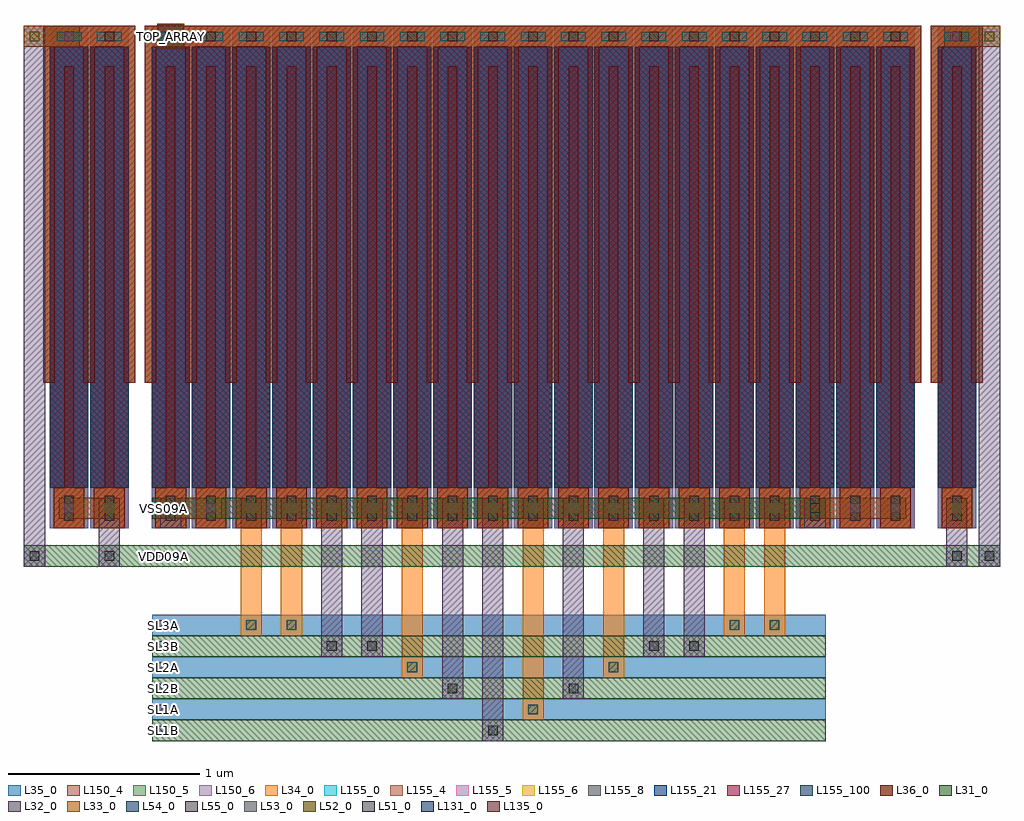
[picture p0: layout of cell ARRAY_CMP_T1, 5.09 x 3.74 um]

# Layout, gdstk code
from math import pi, radians
import gdstk
lib = gdstk.Library(unit=1e-6, precision=1e-09)
def R(c, l, rs):  # rectangles x0, y0, x1, y1
    for r in rs: c.add(gdstk.rectangle(r[:2], r[2:], *l))
def A(c, l, x, y, w, h, nx, ny, dx, dy):  # array of equal rectangles
    R(c, l, [(x+i*dx, y+j*dy, x+i*dx+w, y+j*dy+h) for i in range(nx) for j in range(ny)])
L31_0 = (31, 0)
L32_0 = (32, 0)
L33_0 = (33, 0)
L34_0 = (34, 0)
L35_0 = (35, 0)
L36_0 = (36, 0)
L51_0 = (51, 0)
L52_0 = (52, 0)
L53_0 = (53, 0)
L54_0 = (54, 0)
L55_0 = (55, 0)
L131_0 = (131, 0)
L135_0 = (135, 0)
L150_4 = (150, 4)
L150_5 = (150, 5)
L150_6 = (150, 6)
L155_0 = (155, 0)
L155_4 = (155, 4)
L155_5 = (155, 5)
L155_6 = (155, 6)
L155_8 = (155, 8)
L155_21 = (155, 21)
L155_27 = (155, 27)
L155_100 = (155, 100)

m5_m4_cdns_614758582987 = lib.new_cell('M5_M4_CDNS_614758582987')
R(m5_m4_cdns_614758582987, L34_0, [(-0.07,-0.105,0.07,0.105)])
R(m5_m4_cdns_614758582987, L35_0, [(-0.07,-0.105,0.07,0.105)])
R(m5_m4_cdns_614758582987, L54_0, [(-0.025,-0.065,0.025,0.065)])

m6_m5_cdns_614758582988 = lib.new_cell('M6_M5_CDNS_614758582988')
R(m6_m5_cdns_614758582988, L35_0, [(-0.07,-0.105,0.07,0.105)])
R(m6_m5_cdns_614758582988, L36_0, [(-0.055,-0.105,0.055,0.105)])
R(m6_m5_cdns_614758582988, L55_0, [(-0.025,-0.065,0.025,0.065)])

m5_m4_cdns_614758582989 = lib.new_cell('M5_M4_CDNS_614758582989')
R(m5_m4_cdns_614758582989, L34_0, [(-0.095,-0.055,0.095,0.055)])
R(m5_m4_cdns_614758582989, L35_0, [(-0.12,-0.055,0.12,0.055)])
R(m5_m4_cdns_614758582989, L54_0, [(-0.065,-0.025,0.065,0.025)])

m6_m5_cdns_6147585829810 = lib.new_cell('M6_M5_CDNS_6147585829810')
R(m6_m5_cdns_6147585829810, L35_0, [(-0.055,-0.055,0.055,0.055)])
R(m6_m5_cdns_6147585829810, L36_0, [(-0.055,-0.055,0.055,0.055)])
R(m6_m5_cdns_6147585829810, L55_0, [(-0.025,-0.025,0.025,0.025)])

cu1f = lib.new_cell('CU1F')
R(cu1f, L34_0, [(0.02,0,0.18,0.21), (-0.035,2.51,0.235,2.62)])
R(cu1f, L35_0, [(0.02,0,0.18,0.21), (-0.035,2.51,0.235,2.62)])
R(cu1f, L36_0, [(0.02,0,0.18,0.21), (-0.035,2.51,0.235,2.62)])
R(cu1f, L150_4, [(0,0,0.2,2.62)])
R(cu1f, L150_5, [(0,0,0.2,2.62)])
R(cu1f, L150_6, [(0,0,0.2,2.62)])
R(cu1f, L155_0, [(0,0.21,0.2,2.51)])
R(cu1f, L155_4, [(0,0.21,0.2,2.51)])
R(cu1f, L155_5, [(0,0.21,0.2,2.51)])
R(cu1f, L155_6, [(0,0.21,0.2,2.51)])
R(cu1f, L155_8, [(0,0.21,0.2,2.51)])
R(cu1f, L155_21, [(0,0.21,0.2,2.51)])
R(cu1f, L155_27, [(0,0.21,0.2,2.51)])
R(cu1f, L155_100, [(0,0.21,0.2,2.51)])
cu1f.add(gdstk.FlexPath([(0.205,2.59),(0.205,0.76)], 0.06, ends=(0.03, 0), simple_path=True, layer=34, datatype=0))  # L34_0
cu1f.add(gdstk.FlexPath([(0.1,2.41),(0.1,0)], 0.05, ends="flush", simple_path=True, layer=34, datatype=0))  # L34_0
cu1f.add(gdstk.FlexPath([(-0.005,2.59),(-0.005,0.76)], 0.06, ends=(0.03, 0), simple_path=True, layer=34, datatype=0))  # L34_0
cu1f.add(gdstk.FlexPath([(0.205,0.76),(0.205,2.59)], 0.06, ends=(0, 0.03), simple_path=True, layer=35, datatype=0))  # L35_0
cu1f.add(gdstk.FlexPath([(0.1,2.41),(0.1,0)], 0.05, ends="flush", simple_path=True, layer=35, datatype=0))  # L35_0
cu1f.add(gdstk.FlexPath([(-0.005,0.76),(-0.005,2.59)], 0.06, ends=(0, 0.03), simple_path=True, layer=35, datatype=0))  # L35_0
cu1f.add(gdstk.FlexPath([(0.205,0.76),(0.205,2.59)], 0.06, ends=(0, 0.03), simple_path=True, layer=36, datatype=0))  # L36_0
cu1f.add(gdstk.FlexPath([(0.1,2.41),(0.1,0)], 0.05, ends="flush", simple_path=True, layer=36, datatype=0))  # L36_0
cu1f.add(gdstk.FlexPath([(-0.005,0.76),(-0.005,2.59)], 0.06, ends=(0, 0.03), simple_path=True, layer=36, datatype=0))  # L36_0
cu1f.add(gdstk.Reference(m5_m4_cdns_614758582987, (0.1,0.105), rotation=pi, x_reflection=True))
cu1f.add(gdstk.Reference(m6_m5_cdns_614758582988, (0.1,0.105), rotation=pi, x_reflection=True))
cu1f.add(gdstk.Reference(m5_m4_cdns_614758582989, (0.1,2.565)))
cu1f.add(gdstk.Reference(m6_m5_cdns_6147585829810, (0.1,2.565)))

m2_m1_cdns_614758582980 = lib.new_cell('M2_M1_CDNS_614758582980')
R(m2_m1_cdns_614758582980, L31_0, [(-0.055,-0.055,0.055,0.055)])
R(m2_m1_cdns_614758582980, L32_0, [(-0.055,-0.055,0.055,0.055)])
R(m2_m1_cdns_614758582980, L51_0, [(-0.025,-0.025,0.025,0.025)])

m3_m2_cdns_614758582981 = lib.new_cell('M3_M2_CDNS_614758582981')
R(m3_m2_cdns_614758582981, L32_0, [(-0.055,-0.055,0.055,0.055)])
R(m3_m2_cdns_614758582981, L33_0, [(-0.055,-0.055,0.055,0.055)])
R(m3_m2_cdns_614758582981, L52_0, [(-0.025,-0.025,0.025,0.025)])

m4_m3_cdns_614758582982 = lib.new_cell('M4_M3_CDNS_614758582982')
R(m4_m3_cdns_614758582982, L33_0, [(-0.055,-0.055,0.055,0.055)])
R(m4_m3_cdns_614758582982, L34_0, [(-0.055,-0.055,0.055,0.055)])
R(m4_m3_cdns_614758582982, L53_0, [(-0.025,-0.025,0.025,0.025)])

m4_m3_cdns_614758582983 = lib.new_cell('M4_M3_CDNS_614758582983')
R(m4_m3_cdns_614758582983, L33_0, [(-0.07,-0.065,0.07,0.065)])
R(m4_m3_cdns_614758582983, L34_0, [(-0.055,-0.055,0.055,0.055)])
R(m4_m3_cdns_614758582983, L53_0, [(-0.025,-0.025,0.025,0.025)])

m3_m2_cdns_614758582984 = lib.new_cell('M3_M2_CDNS_614758582984')
R(m3_m2_cdns_614758582984, L32_0, [(-0.065,-0.06,0.065,0.06)])
R(m3_m2_cdns_614758582984, L33_0, [(-0.07,-0.065,0.07,0.065)])
R(m3_m2_cdns_614758582984, L52_0, [(-0.025,-0.025,0.025,0.025)])

m2_m1_cdns_614758582985 = lib.new_cell('M2_M1_CDNS_614758582985')
R(m2_m1_cdns_614758582985, L31_0, [(-0.055,-0.055,0.055,0.055)])
R(m2_m1_cdns_614758582985, L32_0, [(-0.065,-0.06,0.065,0.06)])
R(m2_m1_cdns_614758582985, L51_0, [(-0.025,-0.025,0.025,0.025)])

m5_m4_cdns_614758582986 = lib.new_cell('M5_M4_CDNS_614758582986')
R(m5_m4_cdns_614758582986, L34_0, [(-0.055,-0.055,0.055,0.055)])
R(m5_m4_cdns_614758582986, L35_0, [(-0.055,-0.055,0.055,0.055)])
R(m5_m4_cdns_614758582986, L54_0, [(-0.025,-0.025,0.025,0.025)])

array_cmp_t1 = lib.new_cell('ARRAY_CMP_T1')
A(array_cmp_t1, L31_0, 0.535, -1.11, 3.51, 0.11, 1, 3, 0, 0.22)
R(array_cmp_t1, L31_0, [(-0.135,-0.2,4.955,-0.09), (0.535,0.05,4.045,0.16), (0.56,2.5,0.7,2.63)])
R(array_cmp_t1, L32_0, [(2.255,-1.11,2.365,0.16), (2.045,-0.89,2.155,0.16), (2.675,-0.89,2.785,0.16), (1.415,-0.67,1.525,0.16), (1.625,-0.67,1.735,0.16), (3.095,-0.67,3.205,0.16), (3.305,-0.67,3.415,0.16), (-0.135,-0.2,-0.025,2.62), (0.255,-0.2,0.365,0.16), (4.675,-0.2,4.785,0.16), (4.845,-0.2,4.955,2.62), (0.575,0,0.685,0.16), (3.935,0,4.045,0.16)])
A(array_cmp_t1, L33_0, 0.995, 0, 0.11, 0.16, 14, 1, 0.21, 0)
R(array_cmp_t1, L33_0, [(4.675,0,4.785,0.16), (0.045,0.05,0.365,0.16), (0.575,0.05,0.895,0.16), (3.935,0.05,4.465,0.16), (-0.135,2.51,0.155,2.62), (4.665,2.51,4.955,2.62)])
R(array_cmp_t1, L34_0, [(2.465,-1,2.575,0.16), (1.835,-0.78,1.945,0.16), (2.885,-0.78,2.995,0.16), (0.995,-0.56,1.105,0.16), (1.205,-0.56,1.315,0.16), (3.515,-0.56,3.625,0.16), (3.725,-0.56,3.835,0.16)])
A(array_cmp_t1, L35_0, 0.535, -1, 3.51, 0.11, 1, 3, 0, 0.22)
A(array_cmp_t1, L131_0, 0.565, -1.08, 0.05, 0.05, 1, 3, 0, 0.22)
R(array_cmp_t1, L131_0, [(0.565,-0.17,0.615,-0.12), (0.565,0.08,0.615,0.13), (0.605,2.54,0.655,2.59)])
A(array_cmp_t1, L135_0, 0.565, -0.97, 0.05, 0.05, 1, 3, 0, 0.22)
array_cmp_t1.add(gdstk.Reference(cu1f, (0,0)))
array_cmp_t1.add(gdstk.Reference(cu1f, (0.21,0)))
array_cmp_t1.add(gdstk.Reference(cu1f, (0.53,0)))
array_cmp_t1.add(gdstk.Reference(cu1f, (0.74,0)))
array_cmp_t1.add(gdstk.Reference(cu1f, (4.63,0)))
array_cmp_t1.add(gdstk.Reference(cu1f, (4.31,0)))
array_cmp_t1.add(gdstk.Reference(cu1f, (4.1,0)))
array_cmp_t1.add(gdstk.Reference(cu1f, (3.89,0)))
array_cmp_t1.add(gdstk.Reference(cu1f, (3.68,0)))
array_cmp_t1.add(gdstk.Reference(cu1f, (3.47,0)))
array_cmp_t1.add(gdstk.Reference(cu1f, (3.26,0)))
array_cmp_t1.add(gdstk.Reference(cu1f, (3.05,0)))
array_cmp_t1.add(gdstk.Reference(cu1f, (2.84,0)))
array_cmp_t1.add(gdstk.Reference(cu1f, (2.63,0)))
array_cmp_t1.add(gdstk.Reference(cu1f, (2.42,0)))
array_cmp_t1.add(gdstk.Reference(cu1f, (2.21,0)))
array_cmp_t1.add(gdstk.Reference(cu1f, (2,0)))
array_cmp_t1.add(gdstk.Reference(cu1f, (1.79,0)))
array_cmp_t1.add(gdstk.Reference(cu1f, (1.58,0)))
array_cmp_t1.add(gdstk.Reference(cu1f, (1.37,0)))
array_cmp_t1.add(gdstk.Reference(cu1f, (1.16,0)))
array_cmp_t1.add(gdstk.Reference(cu1f, (0.95,0)))
array_cmp_t1.add(gdstk.Reference(m2_m1_cdns_614758582980, (4.9,-0.145)))
array_cmp_t1.add(gdstk.Reference(m2_m1_cdns_614758582980, (-0.08,-0.145)))
array_cmp_t1.add(gdstk.Reference(m2_m1_cdns_614758582980, (3.99,0.105)))
array_cmp_t1.add(gdstk.Reference(m2_m1_cdns_614758582980, (4.73,-0.145)))
array_cmp_t1.add(gdstk.Reference(m2_m1_cdns_614758582980, (0.31,-0.145)))
array_cmp_t1.add(gdstk.Reference(m2_m1_cdns_614758582980, (2.31,-1.055)))
array_cmp_t1.add(gdstk.Reference(m2_m1_cdns_614758582980, (2.1,-0.835)))
array_cmp_t1.add(gdstk.Reference(m2_m1_cdns_614758582980, (2.73,-0.835)))
array_cmp_t1.add(gdstk.Reference(m2_m1_cdns_614758582980, (1.68,-0.615)))
array_cmp_t1.add(gdstk.Reference(m2_m1_cdns_614758582980, (1.47,-0.615)))
array_cmp_t1.add(gdstk.Reference(m2_m1_cdns_614758582980, (3.15,-0.615)))
array_cmp_t1.add(gdstk.Reference(m2_m1_cdns_614758582980, (3.36,-0.615)))
array_cmp_t1.add(gdstk.Reference(m2_m1_cdns_614758582980, (0.63,0.105)))
array_cmp_t1.add(gdstk.Reference(m3_m2_cdns_614758582981, (4.9,2.565)))
array_cmp_t1.add(gdstk.Reference(m3_m2_cdns_614758582981, (-0.08,2.565)))
array_cmp_t1.add(gdstk.Reference(m3_m2_cdns_614758582981, (1.05,0.105)))
array_cmp_t1.add(gdstk.Reference(m3_m2_cdns_614758582981, (1.26,0.105)))
array_cmp_t1.add(gdstk.Reference(m3_m2_cdns_614758582981, (1.47,0.105)))
array_cmp_t1.add(gdstk.Reference(m3_m2_cdns_614758582981, (1.68,0.105)))
array_cmp_t1.add(gdstk.Reference(m3_m2_cdns_614758582981, (1.89,0.105)))
array_cmp_t1.add(gdstk.Reference(m3_m2_cdns_614758582981, (2.1,0.105)))
array_cmp_t1.add(gdstk.Reference(m3_m2_cdns_614758582981, (2.31,0.105)))
array_cmp_t1.add(gdstk.Reference(m3_m2_cdns_614758582981, (2.52,0.105)))
array_cmp_t1.add(gdstk.Reference(m3_m2_cdns_614758582981, (2.73,0.105)))
array_cmp_t1.add(gdstk.Reference(m3_m2_cdns_614758582981, (2.94,0.105)))
array_cmp_t1.add(gdstk.Reference(m3_m2_cdns_614758582981, (3.15,0.105)))
array_cmp_t1.add(gdstk.Reference(m3_m2_cdns_614758582981, (3.36,0.105)))
array_cmp_t1.add(gdstk.Reference(m3_m2_cdns_614758582981, (3.57,0.105)))
array_cmp_t1.add(gdstk.Reference(m3_m2_cdns_614758582981, (3.78,0.105)))
array_cmp_t1.add(gdstk.Reference(m3_m2_cdns_614758582981, (4.73,0.105)))
array_cmp_t1.add(gdstk.Reference(m3_m2_cdns_614758582981, (3.99,0.105)))
array_cmp_t1.add(gdstk.Reference(m3_m2_cdns_614758582981, (0.63,0.105)))
array_cmp_t1.add(gdstk.Reference(m3_m2_cdns_614758582981, (0.31,0.105)))
array_cmp_t1.add(gdstk.Reference(m4_m3_cdns_614758582982, (4.72,2.565), rotation=pi, x_reflection=True))
array_cmp_t1.add(gdstk.Reference(m4_m3_cdns_614758582982, (0.1,2.565)))
array_cmp_t1.add(gdstk.Reference(m4_m3_cdns_614758582982, (1.05,0.105)))
array_cmp_t1.add(gdstk.Reference(m4_m3_cdns_614758582982, (1.26,0.105)))
array_cmp_t1.add(gdstk.Reference(m4_m3_cdns_614758582982, (1.47,0.105)))
array_cmp_t1.add(gdstk.Reference(m4_m3_cdns_614758582982, (1.68,0.105)))
array_cmp_t1.add(gdstk.Reference(m4_m3_cdns_614758582982, (1.89,0.105)))
array_cmp_t1.add(gdstk.Reference(m4_m3_cdns_614758582982, (2.1,0.105)))
array_cmp_t1.add(gdstk.Reference(m4_m3_cdns_614758582982, (2.31,0.105)))
array_cmp_t1.add(gdstk.Reference(m4_m3_cdns_614758582982, (2.52,0.105)))
array_cmp_t1.add(gdstk.Reference(m4_m3_cdns_614758582982, (2.73,0.105)))
array_cmp_t1.add(gdstk.Reference(m4_m3_cdns_614758582982, (2.94,0.105)))
array_cmp_t1.add(gdstk.Reference(m4_m3_cdns_614758582982, (3.15,0.105)))
array_cmp_t1.add(gdstk.Reference(m4_m3_cdns_614758582982, (3.36,0.105)))
array_cmp_t1.add(gdstk.Reference(m4_m3_cdns_614758582982, (3.57,0.105)))
array_cmp_t1.add(gdstk.Reference(m4_m3_cdns_614758582982, (3.78,0.105)))
array_cmp_t1.add(gdstk.Reference(m4_m3_cdns_614758582982, (4.73,0.105)))
array_cmp_t1.add(gdstk.Reference(m4_m3_cdns_614758582982, (4.2,0.105)))
array_cmp_t1.add(gdstk.Reference(m4_m3_cdns_614758582982, (4.41,0.105)))
array_cmp_t1.add(gdstk.Reference(m4_m3_cdns_614758582982, (3.99,0.105)))
array_cmp_t1.add(gdstk.Reference(m4_m3_cdns_614758582982, (0.84,0.105)))
array_cmp_t1.add(gdstk.Reference(m4_m3_cdns_614758582982, (0.63,0.105)))
array_cmp_t1.add(gdstk.Reference(m4_m3_cdns_614758582982, (0.1,0.105)))
array_cmp_t1.add(gdstk.Reference(m4_m3_cdns_614758582982, (0.31,0.105)))
array_cmp_t1.add(gdstk.Reference(m4_m3_cdns_614758582983, (0.63,2.565)))
array_cmp_t1.add(gdstk.Reference(m3_m2_cdns_614758582984, (0.63,2.565)))
array_cmp_t1.add(gdstk.Reference(m2_m1_cdns_614758582985, (0.63,2.565)))
array_cmp_t1.add(gdstk.Reference(m5_m4_cdns_614758582986, (1.89,-0.725)))
array_cmp_t1.add(gdstk.Reference(m5_m4_cdns_614758582986, (2.94,-0.725)))
array_cmp_t1.add(gdstk.Reference(m5_m4_cdns_614758582986, (2.52,-0.945)))
array_cmp_t1.add(gdstk.Reference(m5_m4_cdns_614758582986, (3.78,-0.505)))
array_cmp_t1.add(gdstk.Reference(m5_m4_cdns_614758582986, (1.26,-0.505)))
array_cmp_t1.add(gdstk.Reference(m5_m4_cdns_614758582986, (3.57,-0.505)))
array_cmp_t1.add(gdstk.Reference(m5_m4_cdns_614758582986, (1.05,-0.505)))
array_cmp_t1.add(gdstk.Label('SL3A', (0.59,-0.505), layer=135, texttype=0))
array_cmp_t1.add(gdstk.Label('SL1A', (0.59,-0.945), layer=135, texttype=0))
array_cmp_t1.add(gdstk.Label('SL2A', (0.59,-0.725), layer=135, texttype=0))
array_cmp_t1.add(gdstk.Label('VDD09A', (0.59,-0.145), layer=131, texttype=0))
array_cmp_t1.add(gdstk.Label('SL3B', (0.59,-0.615), layer=131, texttype=0))
array_cmp_t1.add(gdstk.Label('VSS09A', (0.59,0.105), layer=131, texttype=0))
array_cmp_t1.add(gdstk.Label('SL1B', (0.59,-1.055), layer=131, texttype=0))
array_cmp_t1.add(gdstk.Label('SL2B', (0.59,-0.835), layer=131, texttype=0))
array_cmp_t1.add(gdstk.Label('TOP_ARRAY', (0.628,2.565), layer=131, texttype=0))

lib.write_gds('ARRAY_CMP_T1.gds')
